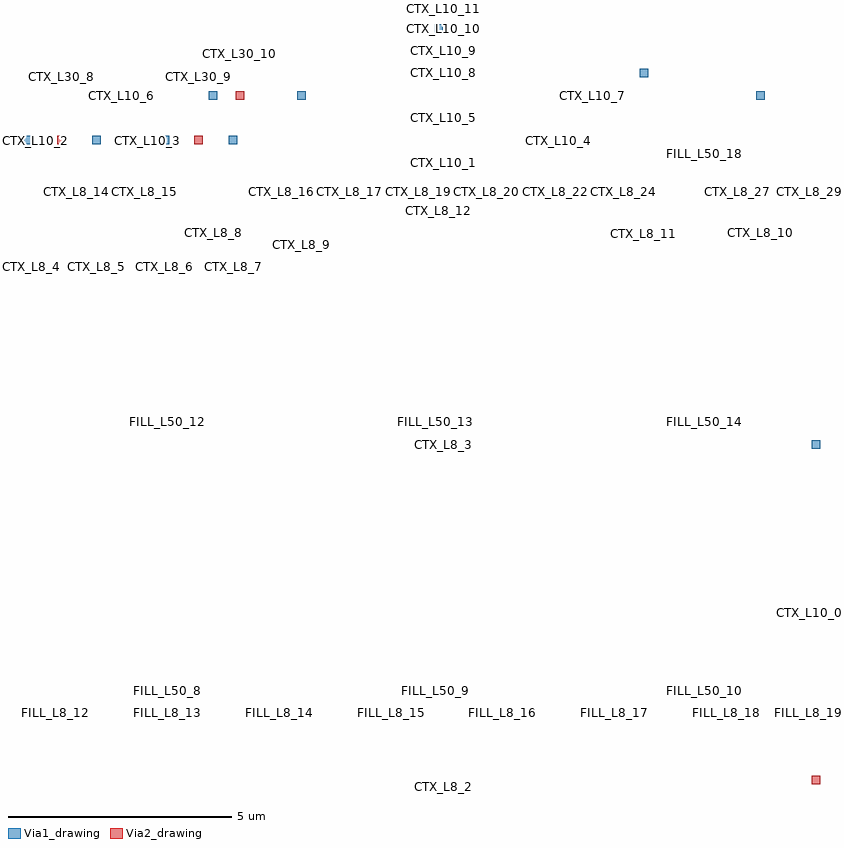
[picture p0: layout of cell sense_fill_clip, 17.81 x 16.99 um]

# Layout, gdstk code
import gdstk
lib = gdstk.Library(unit=1e-6, precision=1e-09)
def R(c, l, rs):  # rectangles x0, y0, x1, y1
    for r in rs: c.add(gdstk.rectangle(r[:2], r[2:], *l))
def A(c, l, x, y, w, h, nx, ny, dx, dy):  # array of equal rectangles
    R(c, l, [(x+i*dx, y+j*dy, x+i*dx+w, y+j*dy+h) for i in range(nx) for j in range(ny)])
Via1_drawing = (19, 0)
Via2_drawing = (29, 0)

sense_fill_clip = lib.new_cell('sense_fill_clip')
A(sense_fill_clip, Via1_drawing, 844.785, 968.205, 0.19, 0.19, 4, 1, 1.53, 0)
R(sense_fill_clip, Via1_drawing, [(862.405,961.405,862.595,961.595), (848.925,969.205,849.115,969.395), (850.905,969.205,851.095,969.395), (861.165,969.205,861.355,969.395), (858.555,969.705,858.745,969.895), (853.965,970.705,854.155,970.895)])
R(sense_fill_clip, Via2_drawing, [(862.405,953.905,862.595,954.095), (845.535,968.205,845.725,968.395), (848.595,968.205,848.785,968.395), (849.525,969.205,849.715,969.395)])
sense_fill_clip.add(gdstk.Label('CTX_L8_11', (858.65,966.22), layer=8, texttype=25))
sense_fill_clip.add(gdstk.Label('CTX_L8_12', (854.06,966.72), layer=8, texttype=25))
sense_fill_clip.add(gdstk.Label('CTX_L8_29', (862.79,967.155), layer=8, texttype=25))
sense_fill_clip.add(gdstk.Label('CTX_L8_27', (860.75,967.155), layer=8, texttype=25))
sense_fill_clip.add(gdstk.Label('CTX_L8_17', (852.08,967.155), layer=8, texttype=25))
sense_fill_clip.add(gdstk.Label('CTX_L8_16', (850.55,967.155), layer=8, texttype=25))
sense_fill_clip.add(gdstk.Label('CTX_L8_7', (849.47,965.47), layer=8, texttype=25))
sense_fill_clip.add(gdstk.Label('CTX_L8_6', (847.94,965.47), layer=8, texttype=25))
sense_fill_clip.add(gdstk.Label('CTX_L8_5', (846.41,965.47), layer=8, texttype=25))
sense_fill_clip.add(gdstk.Label('CTX_L8_4', (844.88,965.47), layer=8, texttype=25))
sense_fill_clip.add(gdstk.Label('CTX_L8_10', (861.26,966.225), layer=8, texttype=25))
sense_fill_clip.add(gdstk.Label('CTX_L8_30', (863.24,966.9), layer=8, texttype=25))
sense_fill_clip.add(gdstk.Label('CTX_L8_22', (856.67,967.155), layer=8, texttype=25))
sense_fill_clip.add(gdstk.Label('FILL_L8_9', (858,950.5), layer=8, texttype=25))
sense_fill_clip.add(gdstk.Label('CTX_L8_9', (851,965.97), layer=8, texttype=25))
sense_fill_clip.add(gdstk.Label('CTX_L8_23', (857.12,966.9), layer=8, texttype=25))
sense_fill_clip.add(gdstk.Label('FILL_L8_10', (860.5,950.5), layer=8, texttype=25))
sense_fill_clip.add(gdstk.Label('FILL_L8_4', (845.5,950.5), layer=8, texttype=25))
sense_fill_clip.add(gdstk.Label('CTX_L8_20', (855.14,967.155), layer=8, texttype=25))
sense_fill_clip.add(gdstk.Label('CTX_L8_2', (854.16,953.85), layer=8, texttype=25))
sense_fill_clip.add(gdstk.Label('FILL_L8_5', (848,950.5), layer=8, texttype=25))
sense_fill_clip.add(gdstk.Label('CTX_L8_3', (854.16,961.5), layer=8, texttype=25))
sense_fill_clip.add(gdstk.Label('CTX_L8_18', (852.53,966.9), layer=8, texttype=25))
sense_fill_clip.add(gdstk.Label('CTX_L8_15', (847.49,967.155), layer=8, texttype=25))
sense_fill_clip.add(gdstk.Label('FILL_L8_3', (861.75,946.75), layer=8, texttype=25))
sense_fill_clip.add(gdstk.Label('CTX_L8_14', (845.96,967.155), layer=8, texttype=25))
sense_fill_clip.add(gdstk.Label('FILL_L8_1', (851.75,946.75), layer=8, texttype=25))
sense_fill_clip.add(gdstk.Label('CTX_L8_28', (861.71,966.9), layer=8, texttype=25))
sense_fill_clip.add(gdstk.Label('FILL_L8_2', (856.75,946.75), layer=8, texttype=25))
sense_fill_clip.add(gdstk.Label('CTX_L8_24', (858.2,967.155), layer=8, texttype=25))
sense_fill_clip.add(gdstk.Label('FILL_L8_0', (846.75,946.75), layer=8, texttype=25))
sense_fill_clip.add(gdstk.Label('FILL_L8_8', (855.5,950.5), layer=8, texttype=25))
sense_fill_clip.add(gdstk.Label('FILL_L8_7', (853,950.5), layer=8, texttype=25))
sense_fill_clip.add(gdstk.Label('FILL_L8_6', (850.5,950.5), layer=8, texttype=25))
sense_fill_clip.add(gdstk.Label('CTX_L8_19', (853.61,967.155), layer=8, texttype=25))
sense_fill_clip.add(gdstk.Label('CTX_L8_1', (854.16,942.15), layer=8, texttype=25))
sense_fill_clip.add(gdstk.Label('CTX_L8_0', (862.41,929.34), layer=8, texttype=25))
sense_fill_clip.add(gdstk.Label('FILL_L8_15', (853,955.5), layer=8, texttype=25))
sense_fill_clip.add(gdstk.Label('FILL_L8_11', (863,950.5), layer=8, texttype=25))
sense_fill_clip.add(gdstk.Label('FILL_L8_12', (845.5,955.5), layer=8, texttype=25))
sense_fill_clip.add(gdstk.Label('CTX_L8_25', (859.73,967.155), layer=8, texttype=25))
sense_fill_clip.add(gdstk.Label('CTX_L8_21', (855.59,966.9), layer=8, texttype=25))
sense_fill_clip.add(gdstk.Label('FILL_L8_17', (858,955.5), layer=8, texttype=25))
sense_fill_clip.add(gdstk.Label('FILL_L8_13', (848,955.5), layer=8, texttype=25))
sense_fill_clip.add(gdstk.Label('FILL_L8_16', (855.5,955.5), layer=8, texttype=25))
sense_fill_clip.add(gdstk.Label('FILL_L8_14', (850.5,955.5), layer=8, texttype=25))
sense_fill_clip.add(gdstk.Label('FILL_L8_18', (860.5,955.5), layer=8, texttype=25))
sense_fill_clip.add(gdstk.Label('CTX_L8_8', (849.02,966.225), layer=8, texttype=25))
sense_fill_clip.add(gdstk.Label('FILL_L8_19', (863,955.5), layer=8, texttype=25))
sense_fill_clip.add(gdstk.Label('CTX_L8_13', (844.43,967.155), layer=8, texttype=25))
sense_fill_clip.add(gdstk.Label('CTX_L8_26', (860.18,966.9), layer=8, texttype=25))
sense_fill_clip.add(gdstk.Label('CTX_L10_11', (854.16,971.245), layer=10, texttype=25))
sense_fill_clip.add(gdstk.Label('CTX_L10_9', (854.16,970.3), layer=10, texttype=25))
sense_fill_clip.add(gdstk.Label('FILL_L10_9', (863,950.5), layer=10, texttype=25))
sense_fill_clip.add(gdstk.Label('FILL_L10_8', (860.5,950.5), layer=10, texttype=25))
sense_fill_clip.add(gdstk.Label('FILL_L10_11', (851.75,951.75), layer=10, texttype=25))
sense_fill_clip.add(gdstk.Label('FILL_L10_14', (848,955.5), layer=10, texttype=25))
sense_fill_clip.add(gdstk.Label('FILL_L10_12', (856.75,951.75), layer=10, texttype=25))
sense_fill_clip.add(gdstk.Label('CTX_L10_10', (854.16,970.8), layer=10, texttype=25))
sense_fill_clip.add(gdstk.Label('FILL_L10_7', (861.75,946.75), layer=10, texttype=25))
sense_fill_clip.add(gdstk.Label('CTX_L10_2', (844.97,968.3), layer=10, texttype=25))
sense_fill_clip.add(gdstk.Label('FILL_L10_10', (846.75,951.75), layer=10, texttype=25))
sense_fill_clip.add(gdstk.Label('CTX_L10_5', (854.16,968.8), layer=10, texttype=25))
sense_fill_clip.add(gdstk.Label('CTX_L10_4', (856.74,968.3), layer=10, texttype=25))
sense_fill_clip.add(gdstk.Label('FILL_L10_4', (846.75,946.75), layer=10, texttype=25))
sense_fill_clip.add(gdstk.Label('FILL_L10_15', (850.5,955.5), layer=10, texttype=25))
sense_fill_clip.add(gdstk.Label('FILL_L10_3', (861.75,941.75), layer=10, texttype=25))
sense_fill_clip.add(gdstk.Label('FILL_L10_2', (856.75,941.75), layer=10, texttype=25))
sense_fill_clip.add(gdstk.Label('FILL_L10_6', (856.75,946.75), layer=10, texttype=25))
sense_fill_clip.add(gdstk.Label('FILL_L10_18', (858,955.5), layer=10, texttype=25))
sense_fill_clip.add(gdstk.Label('CTX_L10_1', (854.16,967.8), layer=10, texttype=25))
sense_fill_clip.add(gdstk.Label('FILL_L10_1', (851.75,941.75), layer=10, texttype=25))
sense_fill_clip.add(gdstk.Label('CTX_L10_3', (847.55,968.3), layer=10, texttype=25))
sense_fill_clip.add(gdstk.Label('FILL_L10_0', (846.75,941.75), layer=10, texttype=25))
sense_fill_clip.add(gdstk.Label('CTX_L10_7', (857.505,969.3), layer=10, texttype=25))
sense_fill_clip.add(gdstk.Label('FILL_L10_13', (845.5,955.5), layer=10, texttype=25))
sense_fill_clip.add(gdstk.Label('FILL_L10_17', (855.5,955.5), layer=10, texttype=25))
sense_fill_clip.add(gdstk.Label('FILL_L10_5', (851.75,946.75), layer=10, texttype=25))
sense_fill_clip.add(gdstk.Label('FILL_L10_16', (853,955.5), layer=10, texttype=25))
sense_fill_clip.add(gdstk.Label('CTX_L10_0', (862.5,957.75), layer=10, texttype=25))
sense_fill_clip.add(gdstk.Label('CTX_L10_8', (854.16,969.8), layer=10, texttype=25))
sense_fill_clip.add(gdstk.Label('CTX_L10_6', (846.965,969.3), layer=10, texttype=25))
sense_fill_clip.add(gdstk.Label('CTX_L30_10', (849.62,970.23), layer=30, texttype=25))
sense_fill_clip.add(gdstk.Label('CTX_L30_8', (845.63,969.73), layer=30, texttype=25))
sense_fill_clip.add(gdstk.Label('CTX_L30_7', (854.16,954), layer=30, texttype=25))
sense_fill_clip.add(gdstk.Label('CTX_L30_9', (848.69,969.73), layer=30, texttype=25))
sense_fill_clip.add(gdstk.Label('N', (854.16,947.1), layer=30, texttype=25))
sense_fill_clip.add(gdstk.Label('CTX_L30_3', (854.16,946.68), layer=30, texttype=25))
sense_fill_clip.add(gdstk.Label('P', (854.16,947.52), layer=30, texttype=25))
sense_fill_clip.add(gdstk.Label('CTX_L30_2', (854.16,943.74), layer=30, texttype=25))
sense_fill_clip.add(gdstk.Label('CTX_L30_6', (854.16,947.94), layer=30, texttype=25))
sense_fill_clip.add(gdstk.Label('CTX_L30_1', (854.16,942), layer=30, texttype=25))
sense_fill_clip.add(gdstk.Label('CTX_L30_0', (854.16,938.75), layer=30, texttype=25))
sense_fill_clip.add(gdstk.Label('FILL_L50_19', (864.08,968), layer=50, texttype=25))
sense_fill_clip.add(gdstk.Label('FILL_L50_18', (860,968), layer=50, texttype=25))
sense_fill_clip.add(gdstk.Label('FILL_L50_16', (848,968), layer=50, texttype=25))
sense_fill_clip.add(gdstk.Label('FILL_L50_15', (864.08,962), layer=50, texttype=25))
sense_fill_clip.add(gdstk.Label('FILL_L50_14', (860,962), layer=50, texttype=25))
sense_fill_clip.add(gdstk.Label('FILL_L50_13', (854,962), layer=50, texttype=25))
sense_fill_clip.add(gdstk.Label('FILL_L50_0', (848,944), layer=50, texttype=25))
sense_fill_clip.add(gdstk.Label('FILL_L50_1', (854,944), layer=50, texttype=25))
sense_fill_clip.add(gdstk.Label('FILL_L50_8', (848,956), layer=50, texttype=25))
sense_fill_clip.add(gdstk.Label('FILL_L50_2', (860,944), layer=50, texttype=25))
sense_fill_clip.add(gdstk.Label('FILL_L50_3', (864.08,944), layer=50, texttype=25))
sense_fill_clip.add(gdstk.Label('FILL_L50_17', (854,968), layer=50, texttype=25))
sense_fill_clip.add(gdstk.Label('FILL_L50_4', (848,950), layer=50, texttype=25))
sense_fill_clip.add(gdstk.Label('FILL_L50_5', (854,950), layer=50, texttype=25))
sense_fill_clip.add(gdstk.Label('FILL_L50_7', (864.08,950), layer=50, texttype=25))
sense_fill_clip.add(gdstk.Label('FILL_L50_6', (860,950), layer=50, texttype=25))
sense_fill_clip.add(gdstk.Label('FILL_L50_10', (860,956), layer=50, texttype=25))
sense_fill_clip.add(gdstk.Label('FILL_L50_12', (848,962), layer=50, texttype=25))
sense_fill_clip.add(gdstk.Label('FILL_L50_9', (854,956), layer=50, texttype=25))
sense_fill_clip.add(gdstk.Label('FILL_L50_11', (864.08,956), layer=50, texttype=25))
sense_fill_clip.add(gdstk.Label('FILL_L67_18', (860,968), layer=67, texttype=25))
sense_fill_clip.add(gdstk.Label('FILL_L67_19', (864.08,968), layer=67, texttype=25))
sense_fill_clip.add(gdstk.Label('FILL_L67_17', (854,968), layer=67, texttype=25))
sense_fill_clip.add(gdstk.Label('FILL_L67_16', (848,968), layer=67, texttype=25))
sense_fill_clip.add(gdstk.Label('FILL_L67_14', (860,962), layer=67, texttype=25))
sense_fill_clip.add(gdstk.Label('FILL_L67_13', (854,962), layer=67, texttype=25))
sense_fill_clip.add(gdstk.Label('FILL_L67_12', (848,962), layer=67, texttype=25))
sense_fill_clip.add(gdstk.Label('CTX_L67_0', (850.41,924.455), layer=67, texttype=25))
sense_fill_clip.add(gdstk.Label('FILL_L67_0', (848,944), layer=67, texttype=25))
sense_fill_clip.add(gdstk.Label('FILL_L67_4', (848,950), layer=67, texttype=25))
sense_fill_clip.add(gdstk.Label('FILL_L67_15', (864.08,962), layer=67, texttype=25))
sense_fill_clip.add(gdstk.Label('FILL_L67_1', (854,944), layer=67, texttype=25))
sense_fill_clip.add(gdstk.Label('FILL_L67_2', (860,944), layer=67, texttype=25))
sense_fill_clip.add(gdstk.Label('FILL_L67_9', (854,956), layer=67, texttype=25))
sense_fill_clip.add(gdstk.Label('FILL_L67_3', (864.08,944), layer=67, texttype=25))
sense_fill_clip.add(gdstk.Label('FILL_L67_5', (854,950), layer=67, texttype=25))
sense_fill_clip.add(gdstk.Label('FILL_L67_6', (860,950), layer=67, texttype=25))
sense_fill_clip.add(gdstk.Label('FILL_L67_7', (864.08,950), layer=67, texttype=25))
sense_fill_clip.add(gdstk.Label('FILL_L67_8', (848,956), layer=67, texttype=25))
sense_fill_clip.add(gdstk.Label('FILL_L67_10', (860,956), layer=67, texttype=25))
sense_fill_clip.add(gdstk.Label('FILL_L67_11', (864.08,956), layer=67, texttype=25))
sense_fill_clip.add(gdstk.Label('CTX_L126_0', (849.91,923.955), layer=126, texttype=25))
sense_fill_clip.add(gdstk.Label('CTX_L134_1', (854.16,942), layer=134, texttype=25))
sense_fill_clip.add(gdstk.Label('CTX_L134_0', (854.16,934.5), layer=134, texttype=25))

lib.write_gds('sense_fill_clip.gds')
